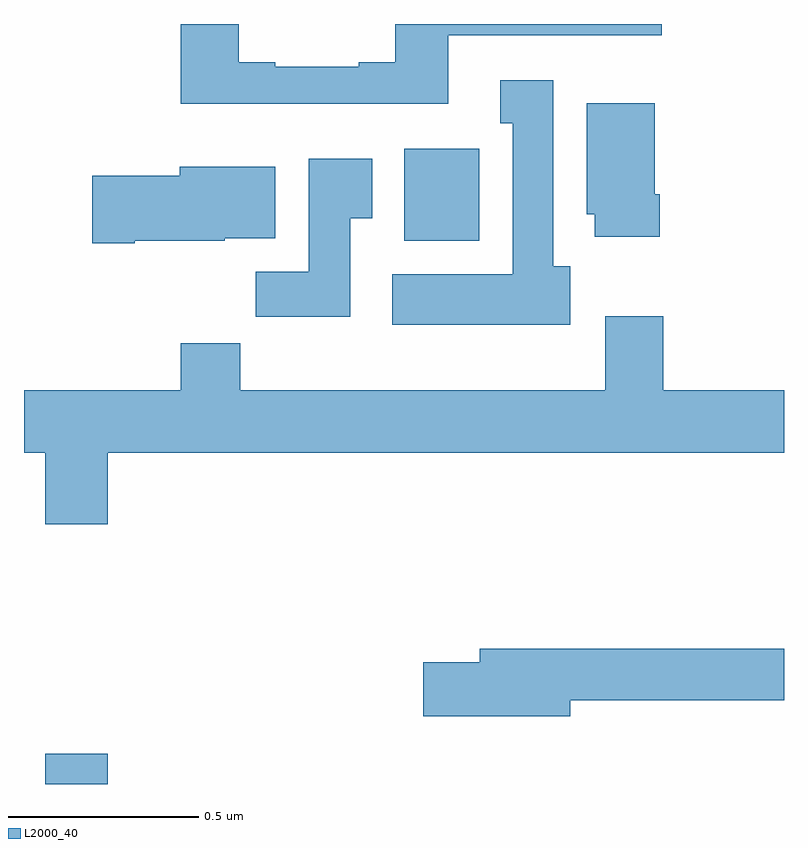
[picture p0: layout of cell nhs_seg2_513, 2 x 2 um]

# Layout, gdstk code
import gdstk
lib = gdstk.Library(unit=1e-6, precision=1e-09)
def R(c, l, rs):  # rectangles x0, y0, x1, y1
    for r in rs: c.add(gdstk.rectangle(r[:2], r[2:], *l))
def P(c, l, *ps):  # polygons
    for p in ps: c.add(gdstk.Polygon(p, *l))
L2000_40 = (2000, 40)

nhs_seg2_513 = lib.new_cell('nhs_seg2_513')
R(nhs_seg2_513, L2000_40, [(117.056,610.8,117.22,610.879), (118.001,612.23,118.198,612.472)])
P(nhs_seg2_513, L2000_40, [(118.117,612.771),(118.678,612.771),(118.678,612.8),(117.977,612.8),(117.977,612.7),(117.881,612.7),(117.881,612.687),(117.661,612.687),(117.661,612.7),(117.565,612.7),(117.565,612.8),(117.413,612.8),(117.413,612.59),(118.117,612.59)],
  [(118.438,612.162),(118.393,612.162),(118.393,612.652),(118.253,612.652),(118.253,612.539),(118.286,612.539),(118.286,612.142),(117.969,612.142),(117.969,612.008),(118.438,612.008)],
  [(118.673,612.352),(118.66,612.352),(118.66,612.592),(118.481,612.592),(118.481,612.3),(118.502,612.3),(118.502,612.24),(118.673,612.24)],
  [(117.859,612.289),(117.916,612.289),(117.916,612.445),(117.749,612.445),(117.749,612.148),(117.61,612.148),(117.61,612.03),(117.859,612.03)],
  [(117.292,612.23),(117.528,612.23),(117.528,612.236),(117.661,612.236),(117.661,612.424),(117.41,612.424),(117.41,612.401),(117.18,612.401),(117.18,612.223),(117.292,612.223)],
  [(117.22,611.672),(119,611.672),(119,611.836),(118.682,611.836),(118.682,612.031),(118.529,612.031),(118.529,611.836),(117.569,611.836),(117.569,611.96),(117.413,611.96),(117.413,611.836),(117,611.836),(117,611.672),(117.056,611.672),(117.056,611.484),(117.22,611.484)],
  [(118.438,611.02),(119,611.02),(119,611.156),(118.199,611.156),(118.199,611.12),(118.05,611.12),(118.05,610.978),(118.438,610.978)])

lib.write_gds('nhs_seg2_513.gds')
